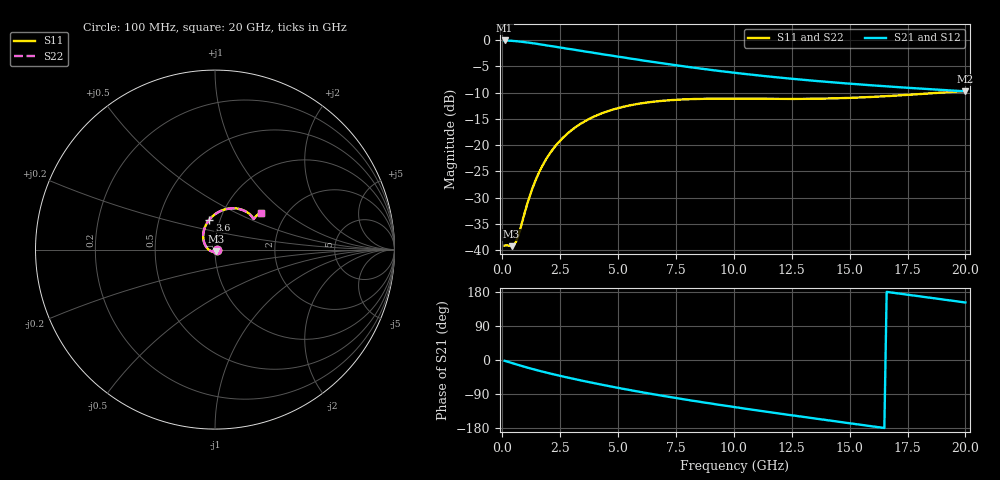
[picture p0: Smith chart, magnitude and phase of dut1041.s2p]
! Touchstone file exported from HFSS 2024.1.0
!  File:  C:/UserFiles/LocalFiles/RDL_TSV_Batchsim/temp_RDL_TSV_1041_1780085708.aedt
!  Generated:  04:28:03 AM May 30, 2026
!  Design:  RDL_TSV
!  Project:  temp_RDL_TSV_1041_1780085708
!  Setup:  Setup1
!  Solution:  Sweep
! Variables:
!  dtsv = 13.93um
!  hbump = 3um
!  htsv = 75.57um
!  ldown = 251.97um
!  lrdl = 534.52um
!  p = 40
!  p1 = 51.91um
!  rhole = 10um
!  subl = 2893.99um
!  t = 450um
!  tdown = 4.14um
!  trdl = 4.78um
!  viad = 10um
!  wdown = 20.62um
!  wrdl = 21.43um
!  xbump = 18um
# GHz S MA R 50.000000
! Terminal data exported
! Port[1] = TM1_1_T1
! Port[2] = TM1_4_T1
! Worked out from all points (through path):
!   200 points, 100 MHz to 20 GHz, reference 50 ohm
!   highest |S21| = -0.10 dB at 100 MHz (marker M1); lowest = -9.8 dB at 20 GHz (marker M2)
!   group delay of S21, straight-line fit = 27.2 ps
!   lowest |S11| = -39.2 dB at 400 MHz (marker M3), VSWR 1.02, Z = 50.6 - j0.946 ohm
!   |S11| at or under -10 dB: start of sweep to 19.02 GHz
!   |S22| runs from -39.2 to -9.7 dB; largest |S21 - S12| = 2.7e-14
!   S11 on the Smith chart (normalised r, x): 100 MHz: 1.02, -0.00; 3.6 GHz: 0.89, +0.31; 20 GHz: 1.50, +0.68
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0.1  0.01109 -10.9  0.9882 -2.0  0.9882 -2.0  0.01109 -10.9
! Gamma 0 0 0 0
! Port Impedance 50 0 50 0
0.4  0.01094 -58.7  0.9807 -7.7  0.9807 -7.7  0.01095 -58.7
0.5  0.01121 -79.0  0.977 -9.6  0.977 -9.6  0.01121 -78.9
0.6  0.01216 -99.8  0.9727 -11.5  0.9727 -11.5  0.01217 -99.7
0.7  0.014 -119.0  0.968 -13.3  0.968 -13.3  0.01399 -118.9
1.1  0.02864 -169.5  0.9447 -20.4  0.9447 -20.4  0.02859 -169.4
1.3  0.03875 175.7  0.9314 -23.7  0.9314 -23.7  0.03867 175.7
1.5  0.04988 164.0  0.9174 -27.0  0.9174 -27.0  0.04978 164.0
1.8  0.0677 150.0  0.8959 -31.7  0.8959 -31.7  0.06755 150.0
2.1  0.08608 138.6  0.8745 -36.2  0.8745 -36.2  0.08588 138.7
2.5  0.1104 126.1  0.8465 -41.9  0.8465 -41.9  0.1101 126.1
3  0.1392 113.3  0.8129 -48.7  0.8129 -48.7  0.1388 113.3
3.5  0.1653 102.6  0.7809 -55.3  0.7809 -55.3  0.1649 102.6
3.6  0.1702 100.7  0.7746 -56.5  0.7746 -56.5  0.1697 100.6
5  0.2247 78.8  0.6933 -73.5  0.6933 -73.5  0.224 78.7
6.8  0.2623 60.2  0.6042 -93.2  0.6042 -93.2  0.2614 60.2
8.4  0.2747 49.6  0.5397 -109.2  0.5397 -109.2  0.2737 49.6
10.1  0.2766 42.8  0.4851 -124.9  0.4851 -124.9  0.2756 42.8
11.7  0.2752 39.5  0.4444 -139.0  0.4444 -139.0  0.2742 39.6
13.4  0.2757 38.4  0.41 -153.5  0.41 -153.5  0.2749 38.5
16.7  0.2929 39.1  0.3604 178.9  0.3604 178.9  0.2922 39.2
20  0.3271 38.5  0.3246 151.8  0.3246 151.8  0.3266 38.5
